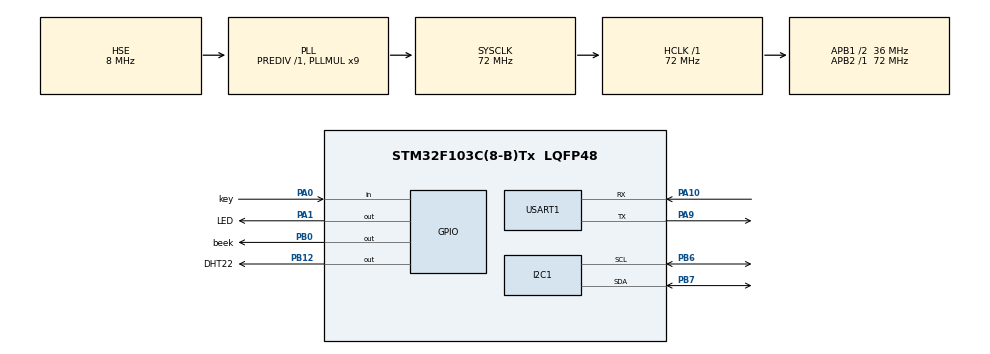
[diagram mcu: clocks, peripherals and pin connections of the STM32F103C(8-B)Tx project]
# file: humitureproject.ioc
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Mcu.Family=STM32F1
Mcu.Name=STM32F103C(8-B)Tx
Mcu.Package=LQFP48
NVIC.PriorityGroup=NVIC_PRIORITYGROUP_4
NVIC.TIM4_IRQn=true\:15\:0\:false\:false\:true\:false\:true\:true
NVIC.TimeBase=TIM4_IRQn
NVIC.TimeBaseIP=TIM4
NVIC.USART1_IRQn=true\:0\:0\:false\:false\:true\:true\:true\:true
PA0-WKUP.GPIO_Label=key
PA0-WKUP.GPIO_PuPd=GPIO_PULLUP
PA0-WKUP.Signal=GPIO_Input
PA1.GPIO_Label=LED
PA1.GPIO_ModeDefaultOutputPP=GPIO_MODE_OUTPUT_PP
PA1.GPIO_PuPd=GPIO_PULLUP
PA1.Signal=GPIO_Output
PA10.Mode=Asynchronous
PA10.Signal=USART1_RX
PA13.Mode=Serial_Wire
PA13.Signal=SYS_JTMS-SWDIO
PA14.Mode=Serial_Wire
PA14.Signal=SYS_JTCK-SWCLK
PA9.Mode=Asynchronous
PA9.Signal=USART1_TX
PB0.GPIO_Label=beek
PB0.Signal=GPIO_Output
PB12.GPIO_Label=DHT22
PB12.GPIO_ModeDefaultOutputPP=GPIO_MODE_OUTPUT_OD
PB12.GPIO_PuPd=GPIO_PULLUP
PB12.GPIO_Speed=GPIO_SPEED_FREQ_HIGH
PB12.PinState=GPIO_PIN_SET
PB12.Signal=GPIO_Output
PB6.Mode=I2C
PB6.Signal=I2C1_SCL
PB7.Mode=I2C
PB7.Signal=I2C1_SDA
PD0-OSC_IN.Mode=HSE-External-Oscillator
PD0-OSC_IN.Signal=RCC_OSC_IN
PD1-OSC_OUT.Mode=HSE-External-Oscillator
PD1-OSC_OUT.Signal=RCC_OSC_OUT
ProjectManager.HeapSize=0x200
ProjectManager.StackSize=0x400
ProjectManager.TargetToolchain=STM32CubeIDE
RCC.AHBFreq_Value=72000000
RCC.APB1CLKDivider=RCC_HCLK_DIV2
RCC.APB1Freq_Value=36000000
RCC.APB1TimFreq_Value=72000000
RCC.APB2Freq_Value=72000000
RCC.APB2TimFreq_Value=72000000
RCC.HCLKFreq_Value=72000000
RCC.PLLMUL=RCC_PLL_MUL9
RCC.PLLSourceVirtual=RCC_PLLSOURCE_HSE
RCC.SYSCLKFreq_VALUE=72000000
RCC.SYSCLKSource=RCC_SYSCLKSOURCE_PLLCLK
RCC.USBFreq_Value=72000000
USART1.VirtualMode=VM_ASYNC
VP_SYS_VS_tim4.Mode=TIM4
board=custom

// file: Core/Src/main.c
/* USER CODE BEGIN Header */
/**
  ******************************************************************************
  * @file           : main.c
  * @brief          : Main program body
  ******************************************************************************
  * @attention
  *
  * Copyright (c) 2026 STMicroelectronics.
  * All rights reserved.
  *
  * This software is licensed under terms that can be found in the LICENSE file
  * in the root directory of this software component.
  * If no LICENSE file comes with this software, it is provided AS-IS.
  *
  ******************************************************************************
  */
/* USER CODE END Header */
#include "main.h"
#include "i2c.h"
#include "usart.h"
#include "gpio.h"

/* USER CODE BEGIN Includes */
#include <stdio.h>
#include "FreeRTOS.h"
#include "task.h"
#include "queue.h"
#include "semphr.h"

#include "key.h"
#include "OLED.h"
#include "DWT.h"
#include "DHT22.h"

#include "key_task.h"
#include "usart_task.h"
#include "oled_task.h"
#include "DHT22_task.h"
#include "outlimit_task.h"

/* USER CODE END Includes */

void SystemClock_Config(void);

/* USER CODE BEGIN 0 */

	//温湿度数据
     //float humi, temp;
	ht_data data;

	//任务句柄
	TaskHandle_t keyhandle;
	TaskHandle_t usart1_1handle;
	TaskHandle_t usart1_log_handle;
	TaskHandle_t oled_handle;
	TaskHandle_t DHT22_handle;
	TaskHandle_t LED_handle;

	//互斥锁句柄
	SemaphoreHandle_t usart1_mute_handle;
	//二值信号量
	SemaphoreHandle_t erzhi_t;

	//消息队列句柄
	QueueHandle_t  Queue_humiture_handle;

/* USER CODE END 0 */

int main(void)
{

  /* MCU Configuration--------------------------------------------------------*/

  /* Reset of all peripherals, Initializes the Flash interface and the Systick. */
  HAL_Init();

  /* USER CODE BEGIN Init */
  Key_Init();

  /* USER CODE END Init */

  /* Configure the system clock */
  SystemClock_Config();

  /* USER CODE BEGIN SysInit */
  dwt_init();
  /* USER CODE END SysInit */

  /* Initialize all configured peripherals */
  MX_GPIO_Init();
  MX_I2C1_Init();
  MX_USART1_UART_Init();
  /* USER CODE BEGIN 2 */

  //可获取从机地址（仅限一个）
  //for (uint8_t addr = 1; addr < 127; addr++) {
  //    if (HAL_I2C_IsDeviceReady(&hi2c1, addr, 1, 100) == HAL_OK) {
  //        printf("I2C设备在地址: 0x%02X\r\n", addr);
  //    }
  // }

  OLED_Init();         // 要在MX_I2C1_Init();之后才行

  //创建互斥锁
  usart1_mute_handle=xSemaphoreCreateMutex();

  //创建二值信号量
  erzhi_t=xSemaphoreCreateBinary();
  if( erzhi_t == NULL )
     {
         printf("erzhi_t创建失败");
			while(1);
     }
  //创建消息队列
  Queue_humiture_handle = xQueueCreate( 2, sizeof(  ht_data ) );
	if( Queue_humiture_handle == NULL )
	{
		// Queue was not created and must not be used.
	printf("Queue_humiture_handle创建失败");
	while(1);
	}

  //创建任务
  //按键任务
  if (xTaskCreate(KeyTask,"key",128,NULL,1,&keyhandle)!= pdPASS) {
      // 如果创建失败，说明堆内存不够，直接停在这里
	  printf("keytask任务创建失败");
      while(1);
  }
  //串口打印温湿度数据
  if ( xTaskCreate(usart1_humitur_task,"usart1_1",128,NULL,1,&usart1_1handle)!= pdPASS) {
       // 如果创建失败，说明堆内存不够，直接停在这里
	   printf("usart1_1任务创建失败");
       while(1);
   }
  //串口日志
  if ( xTaskCreate(usart1_log_task,"usart1_log",128,NULL,1,&usart1_log_handle)!= pdPASS) {
         // 如果创建失败，说明堆内存不够，直接停在这里
  	   printf("usart1_log_task任务创建失败");
         while(1);
   }
  //oled任务
  if ( xTaskCreate(oled_display_task,"oled",128,NULL,1,&oled_handle)!= pdPASS) {
           // 如果创建失败，说明堆内存不够，直接停在这里
    	   printf("oled_display_task任务创建失败");
           while(1);
     }
  //DHT22任务
    if ( xTaskCreate(dht22_read_task,"DHT22",512,NULL,3,&DHT22_handle)!= pdPASS) {
             // 如果创建失败，说明堆内存不够，直接停在这里
      	   printf("oled_display_task任务创建失败");
             while(1);
       }
    //创建超限任务，这个是闪烁led
    if (xTaskCreate(led_task,"led",128,NULL,1,&LED_handle)!= pdPASS) {
          // 如果创建失败，说明堆内存不够，直接停在这里
    	  printf("ledtask任务创建失败");
          while(1);
      }

    //printf("当前剩余堆内存: %d 字节\r\n", (int)xPortGetFreeHeapSize());

  //测试DWT延时
 // uint32_t sta=0,end=0,del=0;
 // sta=DWT->CYCCNT;
  //dwt_delay_us(1000);
  //end=DWT->CYCCNT;
  //del=end-sta;

  vTaskStartScheduler();

  /* USER CODE END 2 */

  /* Infinite loop */
  while (1)
  {

  }
}

void SystemClock_Config(void)
{
  RCC_OscInitTypeDef RCC_OscInitStruct = {0};
  RCC_ClkInitTypeDef RCC_ClkInitStruct = {0};

  /** Initializes the RCC Oscillators according to the specified parameters
  * in the RCC_OscInitTypeDef structure.
  */
  RCC_OscInitStruct.OscillatorType = RCC_OSCILLATORTYPE_HSE;
  RCC_OscInitStruct.HSEState = RCC_HSE_ON;
  RCC_OscInitStruct.HSEPredivValue = RCC_HSE_PREDIV_DIV1;
  RCC_OscInitStruct.HSIState = RCC_HSI_ON;
  RCC_OscInitStruct.PLL.PLLState = RCC_PLL_ON;
  RCC_OscInitStruct.PLL.PLLSource = RCC_PLLSOURCE_HSE;
  RCC_OscInitStruct.PLL.PLLMUL = RCC_PLL_MUL9;
  if (HAL_RCC_OscConfig(&RCC_OscInitStruct) != HAL_OK)
  {
    Error_Handler();
  }

  /** Initializes the CPU, AHB and APB buses clocks
  */
  RCC_ClkInitStruct.ClockType = RCC_CLOCKTYPE_HCLK|RCC_CLOCKTYPE_SYSCLK
                              |RCC_CLOCKTYPE_PCLK1|RCC_CLOCKTYPE_PCLK2;
  RCC_ClkInitStruct.SYSCLKSource = RCC_SYSCLKSOURCE_PLLCLK;
  RCC_ClkInitStruct.AHBCLKDivider = RCC_SYSCLK_DIV1;
  RCC_ClkInitStruct.APB1CLKDivider = RCC_HCLK_DIV2;
  RCC_ClkInitStruct.APB2CLKDivider = RCC_HCLK_DIV1;

  if (HAL_RCC_ClockConfig(&RCC_ClkInitStruct, FLASH_LATENCY_2) != HAL_OK)
  {
    Error_Handler();
  }
}

/* USER CODE BEGIN 4 */
//串口重定向
int __io_putchar(int ch)
{
    HAL_UART_Transmit(&huart1, (uint8_t *)&ch, 1, HAL_MAX_DELAY);
    return ch;
}

//内核断言
/**
 * @brief FreeRTOS 内核断言 (configASSERT) 说明
 *
 * 【什么时候触发】（通常是操作系统级的使用错误，而非普通业务逻辑错误）：
 * 1. 传参错误：传入无效句柄（如向 xSemaphoreTake 传 NULL）。
 * 2. 违规调用：在中断服务函数 (ISR) 里调用了阻塞型API（如 xSemaphoreTake / vTaskDelay）。
 * 3. 优先级越界：外设中断优先级高于系统允许的上限（configMAX_SYSCALL_INTERRUPT_PRIORITY）。
 * 4. 内核状态异常：内存被踩踏，导致内核底层队列/信号量指针损坏。
 *
 * 【断言内部一般干什么】：
 * 1. 打印/记录现场：自定义实现里通过 printf 输出触发断言的 __FILE__（文件）和 __LINE__（行号）。
 * 2. 冻结系统：调用 taskDISABLE_INTERRUPTS() 关闭中断，并进入 for(;;); 死循环。
 * 3. 目的：强制暂停运行，防止系统在严重错误状态下继续执行导致更多数据损坏，方便开发者定位问题。
 */
void vAssertCalled( const char *pcFile, int line ){
	taskDISABLE_INTERRUPTS();  // 关掉中断避免死循环时继续进中断
	printf("\r\n[CRITICAL ERROR] FreeRTOS Assert Failed!\r\n");
	printf("File: %s\r\n", pcFile);
	printf("Line: %d\r\n", line);
    printf("System Halted.\r\n");

    for( ;; ); // 死循环

}

/* USER CODE END 4 */

void HAL_TIM_PeriodElapsedCallback(TIM_HandleTypeDef *htim)
{
  if (htim->Instance == TIM4)
  {
    HAL_IncTick();
  }
}

void Error_Handler(void)
{
  __disable_irq();
  while (1)
  {
  }
}
